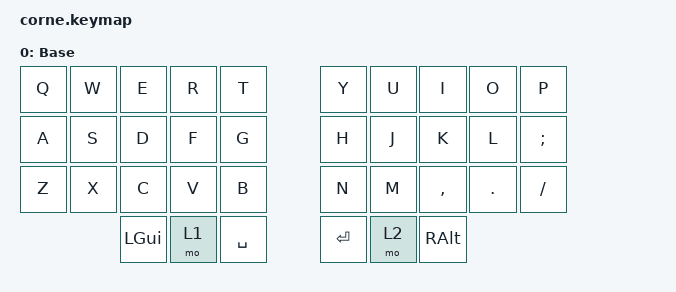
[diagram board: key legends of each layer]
/*
 * Copyright (c) 2020 The ZMK Contributors
 *
 * SPDX-License-Identifier: MIT
 */

#include <behaviors.dtsi>
#include <dt-bindings/zmk/keys.h>
#include <dt-bindings/zmk/bt.h>

/ {
        keymap {
                compatible = "zmk,keymap";

                default_layer {
// -----------------------------------------------------------------------------------------
// |  Q  |  W  |  E  |  R  |  T  |   |  Y  |  U   |  I  |  O  |  P  |
// |  A  |  S  |  D  |  F  |  G  |   |  H  |  J   |  K  |  L  |  ;  |
// |  Z  |  X  |  C  |  V  |  B  |   |  N  |  M   |  ,  |  .  |  /  |
//                    | GUI | LWR | SPC |   | ENT | RSE  | ALT |
                        display-name = "Base";
                        bindings = <
   &kp Q &kp W &kp E &kp R &kp T   &kp Y &kp U  &kp I     &kp O   &kp P    
   &kp A &kp S &kp D &kp F &kp G   &kp H &kp J  &kp K     &kp L   &kp SEMI 
   &kp Z &kp X &kp C &kp V &kp B   &kp N &kp M  &kp COMMA &kp DOT &kp FSLH
                  &kp LGUI &mo 1 &kp SPACE   &kp RET &mo 2 &kp RALT
                        >;
                };
                

             
        };
};
